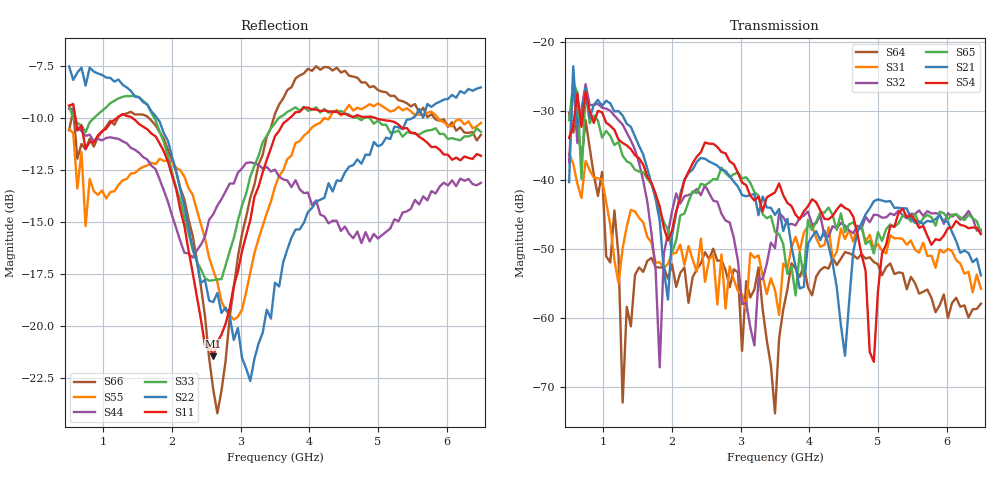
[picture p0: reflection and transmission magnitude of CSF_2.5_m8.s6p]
!Keysight Technologies,M9804A,MY58100912,A.14.10.03
!Date: Thursday, April 27, 2023 10:28:33
!Correction: S11(C  6-Port  )
!S12(C  6-Port  )
!S13(C  6-Port  )
!S14(C  6-Port  )
!S15(C  6-Port  )
!S16(C  6-Port  )
!S21(C  6-Port  )
!S22(C  6-Port  )
!S23(C  6-Port  )
!S24(C  6-Port  )
!S25(C  6-Port  )
!S26(C  6-Port  )
!S31(C  6-Port  )
!S32(C  6-Port  )
!S33(C  6-Port  )
!S34(C  6-Port  )
!S35(C  6-Port  )
!S36(C  6-Port  )
!S41(C  6-Port  )
!S42(C  6-Port  )
!S43(C  6-Port  )
!S44(C  6-Port  )
!S45(C  6-Port  )
!S46(C  6-Port  )
!S51(C  6-Port  )
!S52(C  6-Port  )
!S53(C  6-Port  )
!S54(C  6-Port  )
!S55(C  6-Port  )
!S56(C  6-Port  )
!S61(C  6-Port  )
!S62(C  6-Port  )
!S63(C  6-Port  )
!S64(C  6-Port  )
!S65(C  6-Port  )
!S66(C  6-Port  )
!S6P File: Measurement: :
# Hz S  RI  R 50
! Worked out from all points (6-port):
!   101 points, 500 MHz to 6.5 GHz, reference 50 ohm
!   strongest paths, dB at 500 MHz, 2 GHz, 3.5 GHz, 5 GHz, 6.5 GHz:
!     S54: -33.9, -47.3, -41.8, -56.1, -47.8
!     S21: -40.3, -48.1, -45.0, -42.8, -53.8
!     S65: -31.3, -50.5, -47.5, -47.5, -47.5
!     S32: -37.5, -44.5, -49.9, -45.1, -47.2
!     S31: -36.2, -50.6, -55.9, -49.3, -55.7
!     S64: -30.2, -52.2, -73.8, -52.2, -57.9
!   lowest |S11| = -21.4 dB at 2.6 GHz (marker M1), VSWR 1.19, Z = 42.5 + j2.15 ohm
!   |S11| at or under -10 dB: 592.2 MHz to 1.192 GHz (599.8 MHz wide, 67.2 % of centre); 1.426 GHz to 3.712 GHz (2.286 GHz wide, 89 % of centre); 4.972 GHz to end of sweep
